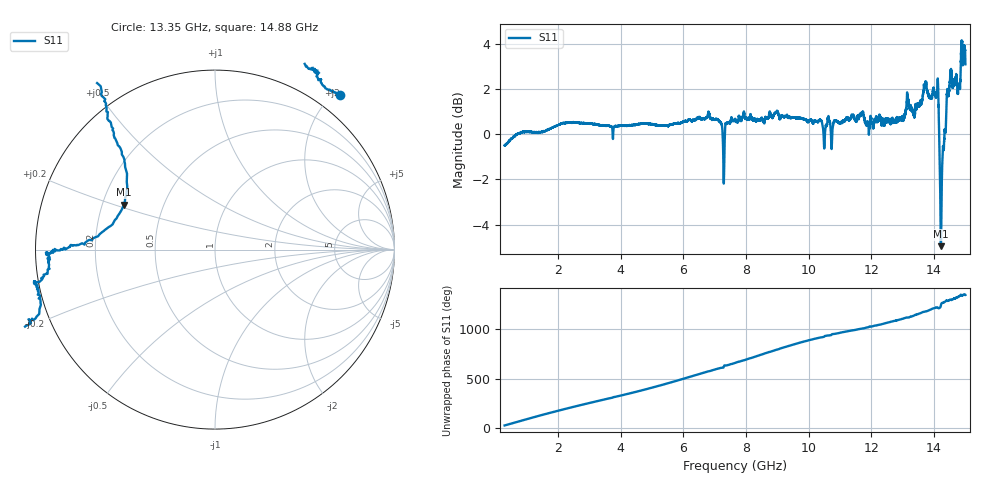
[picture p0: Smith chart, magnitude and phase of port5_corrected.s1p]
! Created with skrf 1.9.0 (http://scikit-rf.org).
# GHz S RI R 50.0
!freq ReS11 ImS11
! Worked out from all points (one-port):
!   12801 points, 300 MHz to 15 GHz, reference 50 ohm
!   lowest |S11| = -5.0 dB at 14.22 GHz (marker M1), VSWR 3.60, Z = 14.6 + j10.7 ohm
!   |S11| at or under -10 dB: nowhere
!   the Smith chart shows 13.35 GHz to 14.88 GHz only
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0.3  0.8289 0.4517
1.114242  -0.1925 0.9947
1.670086  -0.8733 0.5302
2.1375  -1.048 -0.1282
3.064289  -0.208 -1.035
3.975  0.8741 -0.5714
4.782352  0.9162 0.5277
5.324414  0.2511 1.015
5.8125  -0.5287 0.917
6.23857  -1.006 0.3768
6.656602  -1.027 -0.3462
7.129758  -0.5128 -0.9399
7.65  0.4858 -0.9615
8.091  1.014 -0.382
8.451609  1.03 0.3043
8.967258  0.4046 1.045
9.4875  -0.5312 0.9528
9.863039  -0.9593 0.4948
10.33275  -1.057 -0.186
10.82428  -0.7052 -0.8077
11.325  -0.1837 -1.066
12.23341  0.8153 -0.7069
13.1625  1.006 0.657
13.73442  -0.1036 1.277
14.10422  -0.9138 0.8865
14.21791  -0.5071 0.2498
14.50158  -1.133 -0.6491
15  -0.2597 -1.405
